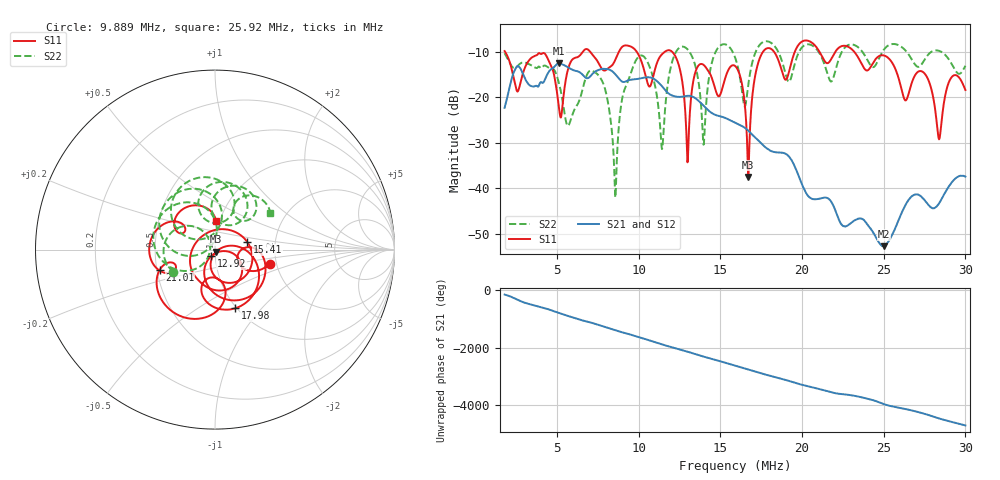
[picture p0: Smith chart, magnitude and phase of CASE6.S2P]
!Agilent Technologies,E5061B,MY49101568,A.02.00
!Date: Wed Mar 01 13:17:10 2023
!Data & Calibration Information:
!Freq	S11:SOLT2(OFF)	S21:SOLT2(OFF)	S12:SOLT2(OFF)	S22:SOLT2(OFF)
# Hz S dB R 50
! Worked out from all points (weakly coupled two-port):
!   1155 points, 1.8 MHz to 30 MHz, reference 50 ohm
!   highest |S21| = -12.60 dB at 5.123 MHz (marker M1); lowest = -52.7 dB at 25.01 MHz (marker M2)
!   lowest |S11| = -37.5 dB at 16.71 MHz (marker M3), VSWR 1.03, Z = 50.7 - j1.16 ohm
!   |S11| at or under -10 dB: 1.822 MHz to 6.592 MHz (4.77 MHz wide, 113 % of centre); 12.04 MHz to 17.62 MHz (5.577 MHz wide, 37.6 % of centre); 23.19 MHz to end of sweep (the widest 3 of 7)
!   |S22| runs from -42.0 to -7.7 dB; largest |S21 - S12| = 0.003
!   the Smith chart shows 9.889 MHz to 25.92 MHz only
!   S11 on the Smith chart (normalised r, x): 9.889 MHz: 1.84, -0.33; 12.92 MHz: 0.96, -0.07; 15.41 MHz: 1.43, +0.13; 17.98 MHz: 0.98, -0.73; 21.01 MHz: 0.52, -0.13; 25.92 MHz: 0.96, +0.32
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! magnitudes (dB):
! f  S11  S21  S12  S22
! 1.8 MHz  -9.9  -22.3  -22.3  -10.3
! 5.123 MHz  -22.2  -12.6  -12.6  -16.9
! 6.516 MHz  -10.4  -14.9  -14.8  -19.0
! 7.811 MHz  -14.0  -13.8  -13.7  -16.8
! 8.569 MHz  -11.8  -14.9  -14.9  -42.0
! 9.889 MHz  -10.0  -16.0  -16.0  -11.6
! 11.21 MHz  -11.8  -16.8  -16.8  -22.1
! 11.45 MHz  -10.5  -17.7  -17.7  -31.2
! 12.36 MHz  -11.9  -19.9  -20.0  -9.7
! 12.92 MHz  -27.5  -19.7  -19.8  -9.2
! 13.97 MHz  -12.9  -21.8  -21.9  -30.4
! 15.41 MHz  -14.7  -24.7  -24.8  -8.6
! 15.9 MHz  -13.1  -25.6  -25.6  -11.2
! 16.71 MHz  -37.5  -27.3  -27.3  -17.4
! 17.98 MHz  -9.2  -31.5  -31.6  -7.8
! 20.62 MHz  -8.1  -42.3  -42.2  -8.6
! 21.01 MHz  -9.7  -42.3  -42.2  -10.0
! 25.01 MHz  -10.8  -52.7  -52.6  -9.6
! 25.31 MHz  -11.5  -51.6  -51.4  -8.6
! 25.92 MHz  -15.9  -46.9  -46.8  -8.6
! 28.39 MHz  -29.2  -43.3  -43.2  -9.8
! 30 MHz  -18.4  -37.4  -37.4  -13.1
